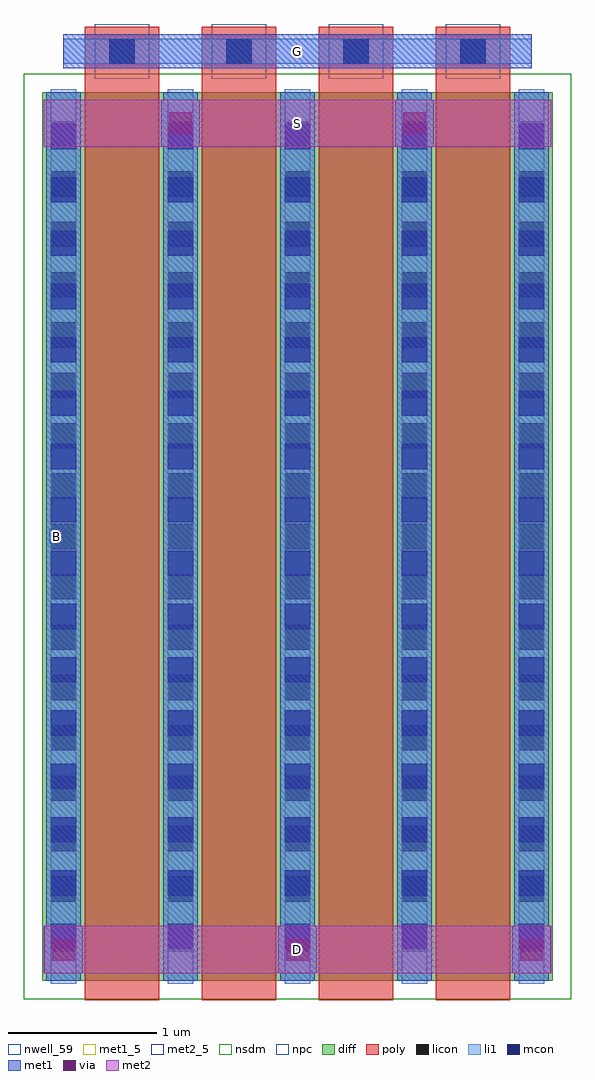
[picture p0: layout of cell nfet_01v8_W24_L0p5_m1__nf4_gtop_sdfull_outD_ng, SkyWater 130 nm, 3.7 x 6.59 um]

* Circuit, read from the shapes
.subckt nfet_01v8_W24_L0p5_m1__nf4_gtop_sdfull_outD_ng B D G S
XM1 S G D B sky130_fd_pr__nfet_01v8 w=6 l=0.5 m=4
.ends

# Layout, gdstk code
import gdstk
lib = gdstk.Library(unit=1e-6, precision=1e-09)
def R(c, l, rs):  # rectangles x0, y0, x1, y1
    for r in rs: c.add(gdstk.rectangle(r[:2], r[2:], *l))
def A(c, l, x, y, w, h, nx, ny, dx, dy):  # array of equal rectangles
    R(c, l, [(x+i*dx, y+j*dy, x+i*dx+w, y+j*dy+h) for i in range(nx) for j in range(ny)])
nwell_59 = (64, 59)
diff = (65, 20)
poly = (66, 20)
licon = (66, 44)
li1 = (67, 20)
mcon = (67, 44)
met1_5 = (68, 5)
met1 = (68, 20)
via = (68, 44)
met2_5 = (69, 5)
met2 = (69, 20)
nsdm = (93, 44)
npc = (95, 20)

sky130_fd_pr__nfet_01v8_ = lib.new_cell('sky130_fd_pr__nfet_01v8_PSJXJL')
R(sky130_fd_pr__nfet_01v8_, diff, [(-1.725,-3.155,1.725,2.845)])
A(sky130_fd_pr__nfet_01v8_, poly, -1.435, -3.285, 0.5, 6.57, 4, 1, 0.79, 0)
A(sky130_fd_pr__nfet_01v8_, licon, -1.665, -2.96, 0.17, 0.17, 5, 17, 0.79, 0.34)
A(sky130_fd_pr__nfet_01v8_, licon, -1.27, 3.035, 0.17, 0.17, 4, 1, 0.79, 0)
A(sky130_fd_pr__nfet_01v8_, li1, -1.665, -3.175, 0.17, 6.04, 5, 1, 0.79, 0)
R(sky130_fd_pr__nfet_01v8_, li1, [(-1.58,3.035,1.58,3.205)])
A(sky130_fd_pr__nfet_01v8_, mcon, -1.665, -2.94, 0.17, 0.17, 5, 16, 0.79, 0.36)
A(sky130_fd_pr__nfet_01v8_, mcon, -1.27, 3.035, 0.17, 0.17, 4, 1, 0.79, 0)
A(sky130_fd_pr__nfet_01v8_, met1, -1.695, -3.155, 0.23, 6, 5, 1, 0.79, 0)
A(sky130_fd_pr__nfet_01v8_, met1, -1.415, 3.005, 0.46, 0.03, 4, 2, 0.79, 0.2)
R(sky130_fd_pr__nfet_01v8_, met1, [(-1.58,3.035,1.58,3.205)])
R(sky130_fd_pr__nfet_01v8_, nsdm, [(-1.85,-3.28,1.85,2.97)])
A(sky130_fd_pr__nfet_01v8_, npc, -1.37, 2.935, 0.37, 0.37, 4, 1, 0.79, 0)
sky130_fd_pr__nfet_01v8_.add(gdstk.Label('D0', (-1.58,-0.155), layer=67, texttype=5))
sky130_fd_pr__nfet_01v8_.add(gdstk.Label('G', (1.185,3.12), layer=67, texttype=5))
sky130_fd_pr__nfet_01v8_.add(gdstk.Label('G', (0.395,3.12), layer=67, texttype=5))
sky130_fd_pr__nfet_01v8_.add(gdstk.Label('G', (-0.395,3.12), layer=67, texttype=5))
sky130_fd_pr__nfet_01v8_.add(gdstk.Label('G', (-1.185,3.12), layer=67, texttype=5))
sky130_fd_pr__nfet_01v8_.add(gdstk.Label('S1', (-0.79,-0.155), layer=67, texttype=5))
sky130_fd_pr__nfet_01v8_.add(gdstk.Label('D2', (0,-0.155), layer=67, texttype=5))
sky130_fd_pr__nfet_01v8_.add(gdstk.Label('S3', (0.79,-0.155), layer=67, texttype=5))

nfet_01v8_w24_l0p5_m1__n = lib.new_cell('nfet_01v8_W24_L0p5_m1__nf4_gtop_sdfull_outD_ng')
R(nfet_01v8_w24_l0p5_m1__n, nwell_59, [(0.05,3.08,0.15,3.18)])
R(nfet_01v8_w24_l0p5_m1__n, met1_5, [(0.145,6.29,3.305,6.52)])
A(nfet_01v8_w24_l0p5_m1__n, met1, 0.015, 0.18, 0.26, 0.32, 3, 1, 1.58, 0)
R(nfet_01v8_w24_l0p5_m1__n, met1, [(0.805,5.76,1.065,6.08), (2.385,5.76,2.645,6.08), (0.145,6.29,3.305,6.52)])
A(nfet_01v8_w24_l0p5_m1__n, via, 0.07, 0.265, 0.15, 0.15, 3, 1, 1.58, 0)
R(nfet_01v8_w24_l0p5_m1__n, via, [(0.86,5.845,1.01,5.995), (2.44,5.845,2.59,5.995)])
R(nfet_01v8_w24_l0p5_m1__n, met2_5, [(0.01,0.18,3.44,0.5), (0.01,5.76,3.44,6.08)])
R(nfet_01v8_w24_l0p5_m1__n, met2, [(0.01,0.18,3.44,0.5), (0.01,5.76,3.44,6.08)])
nfet_01v8_w24_l0p5_m1__n.add(gdstk.Reference(sky130_fd_pr__nfet_01v8_, (1.725,3.285)))
nfet_01v8_w24_l0p5_m1__n.add(gdstk.Label('S', (1.725,5.92), layer=69, texttype=5))
nfet_01v8_w24_l0p5_m1__n.add(gdstk.Label('D', (1.725,0.34), layer=69, texttype=5))
nfet_01v8_w24_l0p5_m1__n.add(gdstk.Label('G', (1.725,6.405), layer=68, texttype=5))
nfet_01v8_w24_l0p5_m1__n.add(gdstk.Label('B', (0.1,3.13), layer=64, texttype=59))

lib.write_gds('nfet_01v8_W24_L0p5_m1__nf4_gtop_sdfull_outD_ng.gds')
